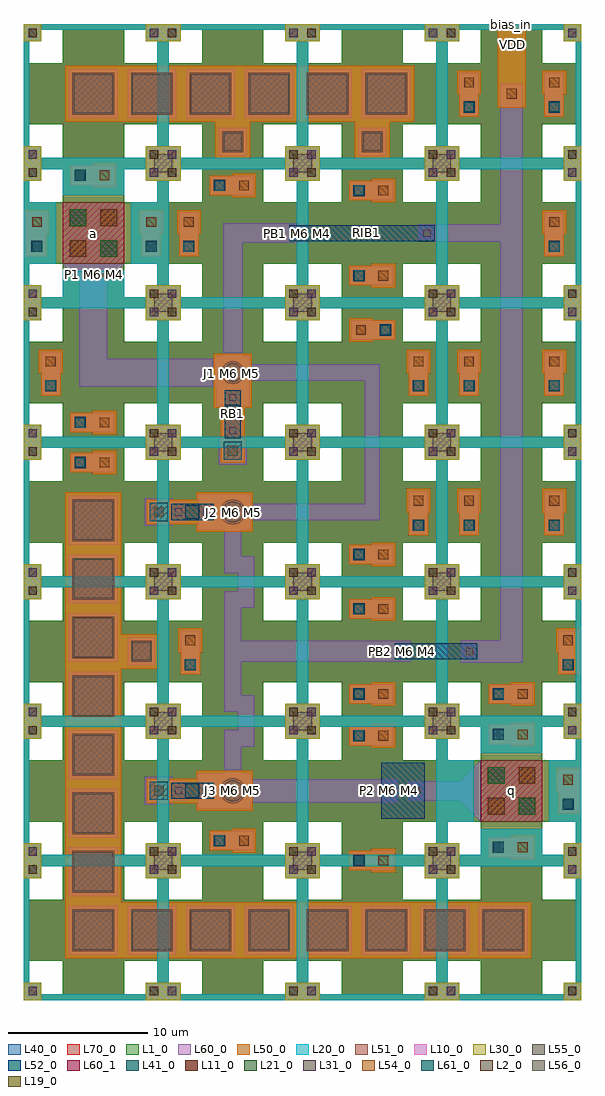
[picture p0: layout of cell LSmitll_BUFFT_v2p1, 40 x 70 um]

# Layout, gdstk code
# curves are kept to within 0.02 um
from math import pi, radians
import gdstk
lib = gdstk.Library(unit=1e-6, precision=1e-09)
def R(c, l, rs):  # rectangles x0, y0, x1, y1
    for r in rs: c.add(gdstk.rectangle(r[:2], r[2:], *l))
def A(c, l, x, y, w, h, nx, ny, dx, dy):  # array of equal rectangles
    R(c, l, [(x+i*dx, y+j*dy, x+i*dx+w, y+j*dy+h) for i in range(nx) for j in range(ny)])
def P(c, l, *ps):  # polygons
    for p in ps: c.add(gdstk.Polygon(p, *l))
L1_0 = (1, 0)
L2_0 = (2, 0)
L10_0 = (10, 0)
L11_0 = (11, 0)
L19_0 = (19, 0)
L20_0 = (20, 0)
L21_0 = (21, 0)
L30_0 = (30, 0)
L31_0 = (31, 0)
L40_0 = (40, 0)
L41_0 = (41, 0)
L50_0 = (50, 0)
L51_0 = (51, 0)
L52_0 = (52, 0)
L54_0 = (54, 0)
L55_0 = (55, 0)
L56_0 = (56, 0)
L60_0 = (60, 0)
L60_1 = (60, 1)
L61_0 = (61, 0)
L70_0 = (70, 0)

ls_fakejj_1p5x1p5um = lib.new_cell('ls_FakeJJ_1p5x1p5um')
R(ls_fakejj_1p5x1p5um, L40_0, [(-1.25,-1.25,1.25,1.25)])
R(ls_fakejj_1p5x1p5um, L50_0, [(-1.25,-1.25,1.25,1.25)])
R(ls_fakejj_1p5x1p5um, L51_0, [(-0.75,-0.75,0.75,0.75)])
R(ls_fakejj_1p5x1p5um, L55_0, [(-0.65,-0.65,0.65,0.65)])
R(ls_fakejj_1p5x1p5um, L60_0, [(-1,-1,1,1)])

ls_tr_m7 = lib.new_cell('ls_tr_M7')
P(ls_tr_m7, L70_0, [(0,0),(0,10),(1.25,10),(1.25,8.75),(0.4,8.75),(0.4,1.25),(1.25,1.25),(1.25,0.4),(2.8,0.4),(2.8,2.8),(0.4,2.8),(0.4,7.2),(2.8,7.2),(2.8,9.6),(1.25,9.6),(1.25,10),(7.2,10),(7.2,0.4),(8.75,0.4),(8.75,1.25),(9.6,1.25),(9.6,2.8),(7.2,2.8),(7.2,7.2),(9.6,7.2),(9.6,8.75),(8.75,8.75),(8.75,9.6),(7.2,9.6),(7.2,10),(10,10),(10,0)])

ls_fakejj_3x3um = lib.new_cell('ls_FakeJJ_3x3um')
R(ls_fakejj_3x3um, L40_0, [(-2,-2,2,2)])
R(ls_fakejj_3x3um, L50_0, [(-2,-2,2,2)])
R(ls_fakejj_3x3um, L51_0, [(-1.5,-1.5,1.5,1.5)])
R(ls_fakejj_3x3um, L55_0, [(-1.4,-1.4,1.4,1.4)])
R(ls_fakejj_3x3um, L60_0, [(-1.75,-1.75,1.75,1.75)])

ls_tr_u_m4 = lib.new_cell('ls_tr_u_M4')
P(ls_tr_u_m4, L1_0, [(0,0),(0,10),(1.25,10),(1.25,8.75),(0.4,8.75),(0.4,1.25),(1.25,1.25),(1.25,0.4),(2.8,0.4),(2.8,2.8),(0.4,2.8),(0.4,7.2),(2.8,7.2),(2.8,9.6),(1.25,9.6),(1.25,10),(7.2,10),(7.2,0.4),(8.75,0.4),(8.75,1.25),(9.6,1.25),(9.6,2.8),(7.2,2.8),(7.2,7.2),(9.6,7.2),(9.6,8.75),(8.75,8.75),(8.75,9.6),(7.2,9.6),(7.2,10),(10,10),(10,0)])
R(ls_tr_u_m4, L2_0, [(9.05,0.35,9.65,0.95), (0.35,9.05,0.95,9.65)])
R(ls_tr_u_m4, L10_0, [(0,0,1.25,1.25), (8.75,0,10,1.25), (0,8.75,1.25,10), (8.75,8.75,10,10)])
R(ls_tr_u_m4, L11_0, [(0.35,0.35,0.95,0.95), (9.05,9.05,9.65,9.65)])
P(ls_tr_u_m4, L20_0, [(0,0),(0,10),(1.25,10),(1.25,8.75),(0.4,8.75),(0.4,1.25),(1.25,1.25),(1.25,0.4),(8.75,0.4),(8.75,1.25),(9.6,1.25),(9.6,8.75),(8.75,8.75),(8.75,9.6),(1.25,9.6),(1.25,10),(10,10),(10,0)])
R(ls_tr_u_m4, L21_0, [(9.05,0.35,9.65,0.95), (0.35,9.05,0.95,9.65)])
R(ls_tr_u_m4, L30_0, [(0,0,1.25,1.25), (8.75,0,10,1.25), (0,8.75,1.25,10), (8.75,8.75,10,10)])
R(ls_tr_u_m4, L31_0, [(0.35,0.35,0.95,0.95), (9.05,9.05,9.65,9.65)])
P(ls_tr_u_m4, L40_0, [(0,0),(0,10),(1.25,10),(1.25,8.75),(0.4,8.75),(0.4,1.25),(1.25,1.25),(1.25,0.4),(2.8,0.4),(2.8,2.8),(0.4,2.8),(0.4,7.2),(2.8,7.2),(2.8,9.6),(1.25,9.6),(1.25,10),(7.2,10),(7.2,0.4),(8.75,0.4),(8.75,1.25),(9.6,1.25),(9.6,2.8),(7.2,2.8),(7.2,7.2),(9.6,7.2),(9.6,8.75),(8.75,8.75),(8.75,9.6),(7.2,9.6),(7.2,10),(10,10),(10,0)])

ls_conn_m4m5m6m7 = lib.new_cell('ls_conn_M4M5M6M7')
R(ls_conn_m4m5m6m7, L40_0, [(0,0,1.4,1.4)])
R(ls_conn_m4m5m6m7, L41_0, [(0.3,0.3,1.1,1.1)])
P(ls_conn_m4m5m6m7, L50_0, [(1.6,-0.15),(1.6,0),(0,0),(0,1.4),(1.6,1.4),(1.6,1.55),(3.3,1.55),(3.3,-0.15)])
R(ls_conn_m4m5m6m7, L54_0, [(2.1,0.35,2.8,1.05)])
R(ls_conn_m4m5m6m7, L60_0, [(0,0,3.15,1.4)])
R(ls_conn_m4m5m6m7, L61_0, [(0.35,0.35,1.05,1.05)])
R(ls_conn_m4m5m6m7, L70_0, [(0,0,1.4,1.4)])

ls_conn_m5m6m7 = lib.new_cell('ls_conn_M5M6M7')
R(ls_conn_m5m6m7, L50_0, [(-0.5,-0.5,1.2,1.2)])
R(ls_conn_m5m6m7, L54_0, [(0,0,0.7,0.7)])
R(ls_conn_m5m6m7, L60_0, [(-0.65,-0.65,1.35,1.35)])
R(ls_conn_m5m6m7, L61_0, [(-0.3,-0.3,1,1)])
R(ls_conn_m5m6m7, L70_0, [(-0.65,-0.65,1.35,1.35)])

ls_jj_250_sg = lib.new_cell('ls_jj_250_sg')
R(ls_jj_250_sg, L41_0, [(-0.5,2.4,0.5,3.4)])
R(ls_jj_250_sg, L50_0, [(-1.425,-1.425,1.425,2.625), (-0.875,2.625,0.875,6.175)])
P(ls_jj_250_sg, L51_0, [(0,-0.91),(-0.18,-0.895),(-0.35,-0.84),(-0.645,-0.645),(-0.84,-0.35),(-0.91,0),(-0.895,0.18),(-0.84,0.35),(-0.645,0.645),(-0.35,0.84),(-0.18,0.895),(0,0.91),(0.18,0.895),(0.35,0.84),(0.645,0.645),(0.84,0.35),(0.895,0.18),(0.91,0),(0.84,-0.35),(0.645,-0.645),(0.35,-0.84),(0.18,-0.895)])
R(ls_jj_250_sg, L52_0, [(-0.575,1.35,0.575,4.425)])
R(ls_jj_250_sg, L54_0, [(-0.35,4.95,0.35,5.65)])
P(ls_jj_250_sg, L55_0, [(0,-0.76),(-0.15,-0.75),(-0.29,-0.7),(-0.54,-0.54),(-0.7,-0.29),(-0.75,-0.15),(-0.76,0),(-0.75,0.15),(-0.7,0.29),(-0.54,0.54),(-0.29,0.7),(-0.15,0.75),(0,0.76),(0.15,0.75),(0.29,0.7),(0.54,0.54),(0.7,0.29),(0.75,0.15),(0.76,0),(0.75,-0.15),(0.7,-0.29),(0.54,-0.54),(0.29,-0.7),(0.15,-0.75)])
R(ls_jj_250_sg, L56_0, [(-0.26,1.64,0.26,2.16), (-0.26,3.63,0.26,4.15)])
R(ls_jj_250_sg, L60_0, [(-1.275,-1.275,1.275,2.525), (-0.725,3.25,0.725,6.025)])
ls_jj_250_sg.add(gdstk.Reference(ls_conn_m5m6m7, (-0.35,4.95)))

ls_ib_168 = lib.new_cell('ls_ib_168')
R(ls_ib_168, L52_0, [(-0.575,0,0.575,10.425)])
R(ls_ib_168, L56_0, [(-0.26,0.29,0.26,0.81), (-0.26,9.62,0.26,10.14)])
R(ls_ib_168, L60_0, [(-0.625,-0.1,0.625,1.175), (-0.625,9.25,0.625,10.525)])

ls_conn_m5m6 = lib.new_cell('ls_conn_M5M6')
R(ls_conn_m5m6, L50_0, [(0,0,1.7,1.7)])
R(ls_conn_m5m6, L54_0, [(0.5,0.5,1.2,1.2)])
R(ls_conn_m5m6, L60_0, [(0.15,0.15,1.55,1.55)])

ls_tr_ptl_conn = lib.new_cell('ls_tr_PTL_conn')
P(ls_tr_ptl_conn, L1_0, [(0,0),(0,10),(1.25,10),(1.25,8.75),(0.4,8.75),(0.4,1.25),(1.25,1.25),(1.25,0.4),(2.8,0.4),(2.8,2.8),(0.4,2.8),(0.4,7.2),(2.8,7.2),(2.8,9.6),(1.25,9.6),(1.25,10),(7.2,10),(7.2,0.4),(8.75,0.4),(8.75,1.25),(9.6,1.25),(9.6,2.8),(7.2,2.8),(7.2,7.2),(9.6,7.2),(9.6,8.75),(8.75,8.75),(8.75,9.6),(7.2,9.6),(7.2,10),(10,10),(10,0)])
R(ls_tr_ptl_conn, L2_0, [(9.05,0.35,9.65,0.95), (0.35,9.05,0.95,9.65)])
R(ls_tr_ptl_conn, L10_0, [(0,0,1.25,1.25), (8.75,0,10,1.25), (2.8,2.8,7.2,7.2), (0,8.75,1.25,10), (8.75,8.75,10,10)])
R(ls_tr_ptl_conn, L11_0, [(0.35,0.35,0.95,0.95), (3.3,3.3,4.5,4.5), (5.5,5.5,6.7,6.7), (9.05,9.05,9.65,9.65)])
R(ls_tr_ptl_conn, L20_0, [(2.8,2.8,7.2,7.2)])
P(ls_tr_ptl_conn, L20_0, [(0,0),(0,10),(7.2,10),(7.2,7.7),(2.8,7.7),(2.8,9.6),(1.25,9.6),(1.25,8.75),(0.4,8.75),(0.4,7.2),(2.3,7.2),(2.3,2.8),(0.4,2.8),(0.4,1.25),(1.25,1.25),(1.25,0.4),(2.8,0.4),(2.8,2.3),(7.2,2.3),(7.2,0.4),(8.75,0.4),(8.75,1.25),(9.6,1.25),(9.6,2.8),(7.7,2.8),(7.7,7.2),(9.6,7.2),(9.6,8.75),(8.75,8.75),(8.75,9.6),(7.2,9.6),(7.2,10),(10,10),(10,0)])
R(ls_tr_ptl_conn, L21_0, [(9.05,0.35,9.65,0.95), (5.5,3.3,6.7,4.5), (3.3,5.5,4.5,6.7), (0.35,9.05,0.95,9.65)])
R(ls_tr_ptl_conn, L30_0, [(0,0,1.25,1.25), (8.75,0,10,1.25), (2.8,2.8,7.2,7.2), (0,8.75,1.25,10), (8.75,8.75,10,10)])
R(ls_tr_ptl_conn, L31_0, [(0.35,0.35,0.95,0.95), (3.3,3.3,4.5,4.5), (5.5,5.5,6.7,6.7), (9.05,9.05,9.65,9.65)])
R(ls_tr_ptl_conn, L40_0, [(2.8,2.8,7.2,7.2)])
P(ls_tr_ptl_conn, L40_0, [(0,0),(0,10),(7.2,10),(7.2,7.7),(2.8,7.7),(2.8,9.6),(1.25,9.6),(1.25,8.75),(0.4,8.75),(0.4,7.2),(2.3,7.2),(2.3,2.8),(0.4,2.8),(0.4,1.25),(1.25,1.25),(1.25,0.4),(2.8,0.4),(2.8,2.3),(7.2,2.3),(7.2,0.4),(8.75,0.4),(8.75,1.25),(9.6,1.25),(9.6,2.8),(7.7,2.8),(7.7,7.2),(9.6,7.2),(9.6,8.75),(8.75,8.75),(8.75,9.6),(7.2,9.6),(7.2,10),(10,10),(10,0)])
R(ls_tr_ptl_conn, L41_0, [(5.5,3.3,6.7,4.5), (3.3,5.5,4.5,6.7)])
R(ls_tr_ptl_conn, L50_0, [(2.8,2.8,7.2,7.2)])
R(ls_tr_ptl_conn, L54_0, [(3.3,3.3,4.5,4.5), (5.5,5.5,6.7,6.7)])
R(ls_tr_ptl_conn, L60_0, [(2.8,2.8,7.2,7.2)])
P(ls_tr_ptl_conn, L70_0, [(0,0),(0,10),(1.25,10),(1.25,8.75),(0.4,8.75),(0.4,1.25),(1.25,1.25),(1.25,0.4),(2.8,0.4),(2.8,2.8),(0.4,2.8),(0.4,7.2),(2.8,7.2),(2.8,9.6),(1.25,9.6),(1.25,10),(7.2,10),(7.2,0.4),(8.75,0.4),(8.75,1.25),(9.6,1.25),(9.6,2.8),(7.2,2.8),(7.2,7.2),(9.6,7.2),(9.6,8.75),(8.75,8.75),(8.75,9.6),(7.2,9.6),(7.2,10),(10,10),(10,0)])

ls_jj_200_sg = lib.new_cell('ls_jj_200_sg')
R(ls_jj_200_sg, L41_0, [(-0.5,2.325,0.5,3.325)])
R(ls_jj_200_sg, L50_0, [(-1.35,-1.35,1.35,2.525), (-0.875,2.525,0.875,6.45)])
P(ls_jj_200_sg, L51_0, [(0,-0.815),(-0.315,-0.755),(-0.58,-0.575),(-0.755,-0.31),(-0.815,0),(-0.755,0.315),(-0.58,0.58),(-0.315,0.76),(0,0.82),(0.315,0.76),(0.58,0.58),(0.755,0.315),(0.815,0),(0.755,-0.31),(0.58,-0.575),(0.315,-0.755)])
R(ls_jj_200_sg, L52_0, [(-0.575,1.275,0.575,4.7)])
P(ls_jj_200_sg, L55_0, [(0,-0.67),(-0.27,-0.62),(-0.37,-0.56),(-0.57,-0.37),(-0.67,-0.13),(-0.67,0.13),(-0.57,0.37),(-0.27,0.61),(0,0.67),(0.27,0.61),(0.47,0.47),(0.57,0.37),(0.67,0.13),(0.67,-0.13),(0.57,-0.37),(0.27,-0.62)])
R(ls_jj_200_sg, L56_0, [(-0.26,1.54,0.26,2.06), (-0.26,3.91,0.26,4.43)])
R(ls_jj_200_sg, L60_0, [(-1.2,-1.2,1.2,2.425), (-0.725,3.525,0.725,6.3)])
ls_jj_200_sg.add(gdstk.Reference(ls_conn_m5m6m7, (-0.35,5.25)))

ls_res_1p36 = lib.new_cell('ls_res_1p36')
R(ls_res_1p36, L52_0, [(-2,0,2,3.1)])
R(ls_res_1p36, L56_0, [(-0.26,0.29,0.26,0.81), (-0.26,2.3,0.26,2.82)])
R(ls_res_1p36, L60_0, [(-0.625,-0.1,0.625,1.175), (-0.625,1.925,0.625,3.2)])

ls_ib_340 = lib.new_cell('ls_ib_340')
R(ls_ib_340, L52_0, [(-0.575,0,0.575,5.925)])
R(ls_ib_340, L56_0, [(-0.26,0.29,0.26,0.81), (-0.26,5.12,0.26,5.64)])
R(ls_ib_340, L60_0, [(-0.625,-0.1,0.625,1.175), (-0.625,4.75,0.625,6.025)])

lsmitll_bufft_v2p1 = lib.new_cell('LSmitll_BUFFT_v2p1')
R(lsmitll_bufft_v2p1, L19_0, [(25.93,14.74,26.45,15.26), (26.89,24.74,27.41,25.26), (19.34,54.74,19.86,55.26)])
A(lsmitll_bufft_v2p1, L50_0, 7, 3, 0.2, 4, 7, 1, 4.2, 0)
A(lsmitll_bufft_v2p1, L50_0, 3, 7, 4, 0.2, 1, 7, 0, 4.2)
A(lsmitll_bufft_v2p1, L50_0, 7, 63, 0.2, 4, 5, 1, 4.2, 0)
R(lsmitll_bufft_v2p1, L50_0, [(39.75,13.35,40,16.65), (39.75,23.35,40,26.65), (7,23.75,7.2,26.25), (0,53.35,0.25,56.65), (13.75,62.8,16.25,63), (23.75,62.8,26.25,63), (34,64,36,70)])
R(lsmitll_bufft_v2p1, L60_0, [(39.75,13.35,40,16.5), (27.575,14.3,31.3,15.7), (39.75,23.35,40,26.5), (0,53.35,0.25,56.5), (28.3,54.375,34.2,55.625)])
P(lsmitll_bufft_v2p1, L60_0, [(32.8,12.8),(31.3,14.3),(31.3,15.7),(32.8,17.2)],
  [(4.3,51.3),(2.8,52.8),(7.2,52.8),(5.7,51.3)])
R(lsmitll_bufft_v2p1, L60_1, [(32.8,12.8,37.2,17.2), (2.8,52.8,7.2,57.2)])
lsmitll_bufft_v2p1.add(gdstk.FlexPath([(5,52.8),(5,45),(13.8,45)], 2, ends="flush", simple_path=True, layer=60, datatype=0))  # L60_0
lsmitll_bufft_v2p1.add(gdstk.FlexPath([(15,46.2),(15,55),(20.225,55)], 1.4, ends="flush", simple_path=True, layer=60, datatype=0))  # L60_0
lsmitll_bufft_v2p1.add(gdstk.FlexPath([(16.2,45),(25.55,45)], 1.2, ends="flush", simple_path=True, layer=60, datatype=0))  # L60_0
lsmitll_bufft_v2p1.add(gdstk.FlexPath([(25,45.6),(25,34.4)], 1.1, ends="flush", simple_path=True, layer=60, datatype=0))  # L60_0
lsmitll_bufft_v2p1.add(gdstk.FlexPath([(25.55,35),(16.275,35)], 1.2, ends="flush", simple_path=True, layer=60, datatype=0))  # L60_0
lsmitll_bufft_v2p1.add(gdstk.FlexPath([(14.925,25),(27.775,25)], 1.5, ends="flush", simple_path=True, layer=60, datatype=0))  # L60_0
lsmitll_bufft_v2p1.add(gdstk.FlexPath([(31.35,25),(35,25),(35,65.7)], 1.6, ends="flush", simple_path=True, layer=60, datatype=0))  # L60_0
lsmitll_bufft_v2p1.add(gdstk.FlexPath([(16.275,15),(26.825,15)], 1.7, ends="flush", simple_path=True, layer=60, datatype=0))  # L60_0
lsmitll_bufft_v2p1.add(gdstk.FlexPath([(15,16.275),(15,18.775),(15.95,18.775),(15.95,21.275),(15,21.275),(15,25)], 1.2, ends="flush", simple_path=True, layer=60, datatype=0))  # L60_0
lsmitll_bufft_v2p1.add(gdstk.FlexPath([(15,33.725),(15,31.225),(15.95,31.225),(15.95,28.725),(15,28.725),(15,25)], 1.2, ends="flush", simple_path=True, layer=60, datatype=0))  # L60_0
lsmitll_bufft_v2p1.add(gdstk.FlexPath([(4.225,52),(5.925,52)], 0.2, ends="flush", simple_path=True, layer=19, datatype=0))  # L19_0
lsmitll_bufft_v2p1.add(gdstk.Reference(ls_fakejj_1p5x1p5um, (20,20)))
lsmitll_bufft_v2p1.add(gdstk.Reference(ls_fakejj_1p5x1p5um, (20,30)))
lsmitll_bufft_v2p1.add(gdstk.Reference(ls_fakejj_1p5x1p5um, (20,40)))
lsmitll_bufft_v2p1.add(gdstk.Reference(ls_fakejj_1p5x1p5um, (20,50)))
r = gdstk.Reference(ls_tr_m7, (0,0)); r.repetition = gdstk.Repetition(4, 7, v1=(10,0), v2=(0,10)); lsmitll_bufft_v2p1.add(r)
lsmitll_bufft_v2p1.add(gdstk.Reference(ls_fakejj_3x3um, (5,34.4)))
lsmitll_bufft_v2p1.add(gdstk.Reference(ls_fakejj_1p5x1p5um, (20,10)))
lsmitll_bufft_v2p1.add(gdstk.Reference(ls_fakejj_1p5x1p5um, (20,60)))
lsmitll_bufft_v2p1.add(gdstk.Reference(ls_tr_u_m4, (0,30)))
lsmitll_bufft_v2p1.add(gdstk.Reference(ls_tr_u_m4, (10,30)))
lsmitll_bufft_v2p1.add(gdstk.Reference(ls_tr_u_m4, (20,30)))
lsmitll_bufft_v2p1.add(gdstk.Reference(ls_tr_u_m4, (30,30)))
lsmitll_bufft_v2p1.add(gdstk.Reference(ls_fakejj_3x3um, (21.8,5)))
lsmitll_bufft_v2p1.add(gdstk.Reference(ls_fakejj_3x3um, (21.8,65)))
lsmitll_bufft_v2p1.add(gdstk.Reference(ls_conn_m4m5m6m7, (32.65,33.35), rotation=pi/2))
lsmitll_bufft_v2p1.add(gdstk.Reference(ls_conn_m4m5m6m7, (29.025,33.35), rotation=pi/2))
lsmitll_bufft_v2p1.add(gdstk.Reference(ls_conn_m4m5m6m7, (38.75,33.35), rotation=pi/2))
lsmitll_bufft_v2p1.add(gdstk.Reference(ls_jj_250_sg, (15,35), rotation=pi/2))
lsmitll_bufft_v2p1.add(gdstk.Reference(ls_ib_168, (19.05,55), rotation=3*pi/2))
lsmitll_bufft_v2p1.add(gdstk.Reference(ls_tr_u_m4, (20,40)))
lsmitll_bufft_v2p1.add(gdstk.Reference(ls_conn_m4m5m6m7, (38.75,63.35), rotation=pi/2))
lsmitll_bufft_v2p1.add(gdstk.Reference(ls_fakejj_1p5x1p5um, (25,61.55)))
lsmitll_bufft_v2p1.add(gdstk.Reference(ls_tr_u_m4, (30,40)))
lsmitll_bufft_v2p1.add(gdstk.Reference(ls_tr_u_m4, (30,50)))
lsmitll_bufft_v2p1.add(gdstk.Reference(ls_tr_u_m4, (30,60)))
lsmitll_bufft_v2p1.add(gdstk.Reference(ls_fakejj_1p5x1p5um, (30,50)))
lsmitll_bufft_v2p1.add(gdstk.Reference(ls_fakejj_1p5x1p5um, (30,60)))
lsmitll_bufft_v2p1.add(gdstk.Reference(ls_conn_m4m5m6m7, (26.65,47.35), rotation=pi, x_reflection=True))
lsmitll_bufft_v2p1.add(gdstk.Reference(ls_conn_m4m5m6m7, (23.35,51.25)))
lsmitll_bufft_v2p1.add(gdstk.Reference(ls_conn_m4m5m6m7, (23.35,57.35)))
lsmitll_bufft_v2p1.add(gdstk.Reference(ls_conn_m4m5m6m7, (29.025,43.35), rotation=pi/2))
lsmitll_bufft_v2p1.add(gdstk.Reference(ls_conn_m4m5m6m7, (32.65,43.35), rotation=pi/2))
lsmitll_bufft_v2p1.add(gdstk.Reference(ls_fakejj_1p5x1p5um, (30,40)))
lsmitll_bufft_v2p1.add(gdstk.Reference(ls_fakejj_3x3um, (26,65)))
lsmitll_bufft_v2p1.add(gdstk.Reference(ls_conn_m4m5m6m7, (32.65,63.35), rotation=pi/2))
lsmitll_bufft_v2p1.add(gdstk.Reference(ls_conn_m4m5m6m7, (38.75,43.35), rotation=pi/2))
lsmitll_bufft_v2p1.add(gdstk.Reference(ls_conn_m4m5m6m7, (38.75,53.35), rotation=pi/2))
lsmitll_bufft_v2p1.add(gdstk.Reference(ls_conn_m5m6, (34.15,64.15)))
lsmitll_bufft_v2p1.add(gdstk.Reference(ls_tr_u_m4, (20,60)))
lsmitll_bufft_v2p1.add(gdstk.Reference(ls_tr_u_m4, (20,50)))
lsmitll_bufft_v2p1.add(gdstk.Reference(ls_fakejj_3x3um, (5,65)))
lsmitll_bufft_v2p1.add(gdstk.Reference(ls_fakejj_3x3um, (13.4,65)))
lsmitll_bufft_v2p1.add(gdstk.Reference(ls_conn_m4m5m6m7, (3.35,37.85)))
lsmitll_bufft_v2p1.add(gdstk.Reference(ls_conn_m4m5m6m7, (3.35,40.725)))
lsmitll_bufft_v2p1.add(gdstk.Reference(ls_conn_m4m5m6m7, (12.55,53.35), rotation=pi/2))
lsmitll_bufft_v2p1.add(gdstk.Reference(ls_tr_u_m4, (10,40)))
lsmitll_bufft_v2p1.add(gdstk.Reference(ls_tr_u_m4, (10,50)))
lsmitll_bufft_v2p1.add(gdstk.Reference(ls_conn_m4m5m6m7, (13.35,57.725)))
lsmitll_bufft_v2p1.add(gdstk.Reference(ls_conn_m4m5m6m7, (1.65,53.35), rotation=pi/2))
lsmitll_bufft_v2p1.add(gdstk.Reference(ls_conn_m4m5m6m7, (2.65,43.35), rotation=pi/2))
lsmitll_bufft_v2p1.add(gdstk.Reference(ls_tr_u_m4, (10,60)))
lsmitll_bufft_v2p1.add(gdstk.Reference(ls_conn_m4m5m6m7, (3.35,58.45)))
lsmitll_bufft_v2p1.add(gdstk.Reference(ls_fakejj_1p5x1p5um, (10,40)))
lsmitll_bufft_v2p1.add(gdstk.Reference(ls_conn_m4m5m6m7, (9.85,53.35), rotation=pi/2))
lsmitll_bufft_v2p1.add(gdstk.Reference(ls_fakejj_3x3um, (17.6,65)))
lsmitll_bufft_v2p1.add(gdstk.Reference(ls_fakejj_3x3um, (9.2,65)))
lsmitll_bufft_v2p1.add(gdstk.Reference(ls_fakejj_1p5x1p5um, (10,60)))
lsmitll_bufft_v2p1.add(gdstk.Reference(ls_tr_ptl_conn, (0,50)))
lsmitll_bufft_v2p1.add(gdstk.Reference(ls_fakejj_1p5x1p5um, (15,61.55)))
lsmitll_bufft_v2p1.add(gdstk.Reference(ls_jj_200_sg, (15,45), rotation=pi))
lsmitll_bufft_v2p1.add(gdstk.Reference(ls_tr_u_m4, (0,60)))
lsmitll_bufft_v2p1.add(gdstk.Reference(ls_fakejj_1p5x1p5um, (10,50)))
lsmitll_bufft_v2p1.add(gdstk.Reference(ls_tr_u_m4, (0,40)))
lsmitll_bufft_v2p1.add(gdstk.Reference(ls_fakejj_3x3um, (5,17.6)))
lsmitll_bufft_v2p1.add(gdstk.Reference(ls_fakejj_1p5x1p5um, (10,30)))
lsmitll_bufft_v2p1.add(gdstk.Reference(ls_fakejj_1p5x1p5um, (10,20)))
lsmitll_bufft_v2p1.add(gdstk.Reference(ls_fakejj_3x3um, (9.2,5)))
lsmitll_bufft_v2p1.add(gdstk.Reference(ls_jj_250_sg, (15,15), rotation=pi/2))
lsmitll_bufft_v2p1.add(gdstk.Reference(ls_conn_m4m5m6m7, (13.35,10.725)))
lsmitll_bufft_v2p1.add(gdstk.Reference(ls_fakejj_3x3um, (5,26)))
lsmitll_bufft_v2p1.add(gdstk.Reference(ls_fakejj_1p5x1p5um, (10,10)))
lsmitll_bufft_v2p1.add(gdstk.Reference(ls_fakejj_3x3um, (5,9.2)))
lsmitll_bufft_v2p1.add(gdstk.Reference(ls_tr_u_m4, (0,20)))
lsmitll_bufft_v2p1.add(gdstk.Reference(ls_tr_u_m4, (0,10)))
lsmitll_bufft_v2p1.add(gdstk.Reference(ls_tr_u_m4, (0,0)))
lsmitll_bufft_v2p1.add(gdstk.Reference(ls_fakejj_3x3um, (5,21.8)))
lsmitll_bufft_v2p1.add(gdstk.Reference(ls_fakejj_3x3um, (5,13.4)))
lsmitll_bufft_v2p1.add(gdstk.Reference(ls_fakejj_3x3um, (5,5)))
lsmitll_bufft_v2p1.add(gdstk.Reference(ls_conn_m4m5m6m7, (12.65,23.35), rotation=pi/2))
lsmitll_bufft_v2p1.add(gdstk.Reference(ls_fakejj_3x3um, (13.4,5)))
lsmitll_bufft_v2p1.add(gdstk.Reference(ls_fakejj_1p5x1p5um, (8.45,25)))
lsmitll_bufft_v2p1.add(gdstk.Reference(ls_fakejj_3x3um, (17.6,5)))
lsmitll_bufft_v2p1.add(gdstk.Reference(ls_tr_u_m4, (10,0)))
lsmitll_bufft_v2p1.add(gdstk.Reference(ls_tr_u_m4, (10,10)))
lsmitll_bufft_v2p1.add(gdstk.Reference(ls_tr_u_m4, (10,20)))
lsmitll_bufft_v2p1.add(gdstk.Reference(ls_fakejj_3x3um, (5,30.2)))
lsmitll_bufft_v2p1.add(gdstk.Reference(ls_tr_ptl_conn, (30,10)))
lsmitll_bufft_v2p1.add(gdstk.Reference(ls_fakejj_3x3um, (34.4,5)))
lsmitll_bufft_v2p1.add(gdstk.Reference(ls_fakejj_3x3um, (30.2,5)))
lsmitll_bufft_v2p1.add(gdstk.Reference(ls_fakejj_3x3um, (26,5)))
lsmitll_bufft_v2p1.add(gdstk.Reference(ls_tr_u_m4, (20,20)))
lsmitll_bufft_v2p1.add(gdstk.Reference(ls_tr_u_m4, (20,10)))
lsmitll_bufft_v2p1.add(gdstk.Reference(ls_tr_u_m4, (20,0)))
lsmitll_bufft_v2p1.add(gdstk.Reference(ls_tr_u_m4, (30,0)))
lsmitll_bufft_v2p1.add(gdstk.Reference(ls_tr_u_m4, (30,20)))
lsmitll_bufft_v2p1.add(gdstk.Reference(ls_fakejj_1p5x1p5um, (30,10)))
lsmitll_bufft_v2p1.add(gdstk.Reference(ls_conn_m4m5m6m7, (39.75,23.35), rotation=pi/2))
lsmitll_bufft_v2p1.add(gdstk.Reference(ls_res_1p36, (28.75,15), rotation=pi/2))
lsmitll_bufft_v2p1.add(gdstk.Reference(ls_conn_m4m5m6m7, (23.35,31.25)))
lsmitll_bufft_v2p1.add(gdstk.Reference(ls_conn_m4m5m6m7, (23.35,27.35)))
lsmitll_bufft_v2p1.add(gdstk.Reference(ls_conn_m4m5m6m7, (39.75,13.35), rotation=pi/2))
lsmitll_bufft_v2p1.add(gdstk.Reference(ls_conn_m4m5m6m7, (23.35,18.25)))
lsmitll_bufft_v2p1.add(gdstk.Reference(ls_conn_m4m5m6m7, (23.35,21.25)))
lsmitll_bufft_v2p1.add(gdstk.Reference(ls_conn_m4m5m6m7, (23.35,9.3)))
lsmitll_bufft_v2p1.add(gdstk.Reference(ls_conn_m4m5m6m7, (33.35,10.25)))
lsmitll_bufft_v2p1.add(gdstk.Reference(ls_conn_m4m5m6m7, (33.35,18.35)))
lsmitll_bufft_v2p1.add(gdstk.Reference(ls_conn_m4m5m6m7, (33.35,21.25)))
lsmitll_bufft_v2p1.add(gdstk.Reference(ls_fakejj_1p5x1p5um, (30,20)))
lsmitll_bufft_v2p1.add(gdstk.Reference(ls_fakejj_1p5x1p5um, (30,30)))
lsmitll_bufft_v2p1.add(gdstk.Reference(ls_ib_340, (26.6,25), rotation=3*pi/2))
lsmitll_bufft_v2p1.add(gdstk.Label('P2 M6 M4', (26.235,15.005), layer=182, texttype=0))
lsmitll_bufft_v2p1.add(gdstk.Label('J3 M6 M5', (15,15.025), layer=182, texttype=0))
lsmitll_bufft_v2p1.add(gdstk.Label('PB2 M6 M4', (27.165,25.025), layer=182, texttype=0))
lsmitll_bufft_v2p1.add(gdstk.Label('J2 M6 M5', (15.04,34.97), layer=182, texttype=0))
lsmitll_bufft_v2p1.add(gdstk.Label('J1 M6 M5', (14.925,44.925), layer=182, texttype=0))
lsmitll_bufft_v2p1.add(gdstk.Label('PB1 M6 M4', (19.615,55.005), layer=182, texttype=0))
lsmitll_bufft_v2p1.add(gdstk.Label('P1 M6 M4', (5.075,52), layer=182, texttype=0))
lsmitll_bufft_v2p1.add(gdstk.Label('a', (5,55), layer=182, texttype=0))
lsmitll_bufft_v2p1.add(gdstk.Label('q', (35,15), layer=182, texttype=0))
lsmitll_bufft_v2p1.add(gdstk.Label('bias_in', (35,70), layer=182, texttype=0))
lsmitll_bufft_v2p1.add(gdstk.Label('VDD', (35.037,68.499), layer=50, texttype=1))
lsmitll_bufft_v2p1.add(gdstk.Label('GND', (36.433,68.554), layer=40, texttype=1))
lsmitll_bufft_v2p1.add(gdstk.Label('RB1', (15.001,42.059), layer=52, texttype=1))
lsmitll_bufft_v2p1.add(gdstk.Label('RB2', (12.084,34.991), layer=52, texttype=1))
lsmitll_bufft_v2p1.add(gdstk.Label('RB3', (12.071,15.014), layer=52, texttype=1))
lsmitll_bufft_v2p1.add(gdstk.Label('RIB1', (24.578,55.016), layer=52, texttype=1))
lsmitll_bufft_v2p1.add(gdstk.Label('RIB2', (29.656,24.92), layer=52, texttype=1))
lsmitll_bufft_v2p1.add(gdstk.Label('RD', (27.202,15.04), layer=52, texttype=1))
lsmitll_bufft_v2p1.add(gdstk.Label('a', (4.999,55.039), layer=60, texttype=1))
lsmitll_bufft_v2p1.add(gdstk.Label('q', (35.011,15.028), layer=60, texttype=1))

lib.write_gds('LSmitll_BUFFT_v2p1.gds')
